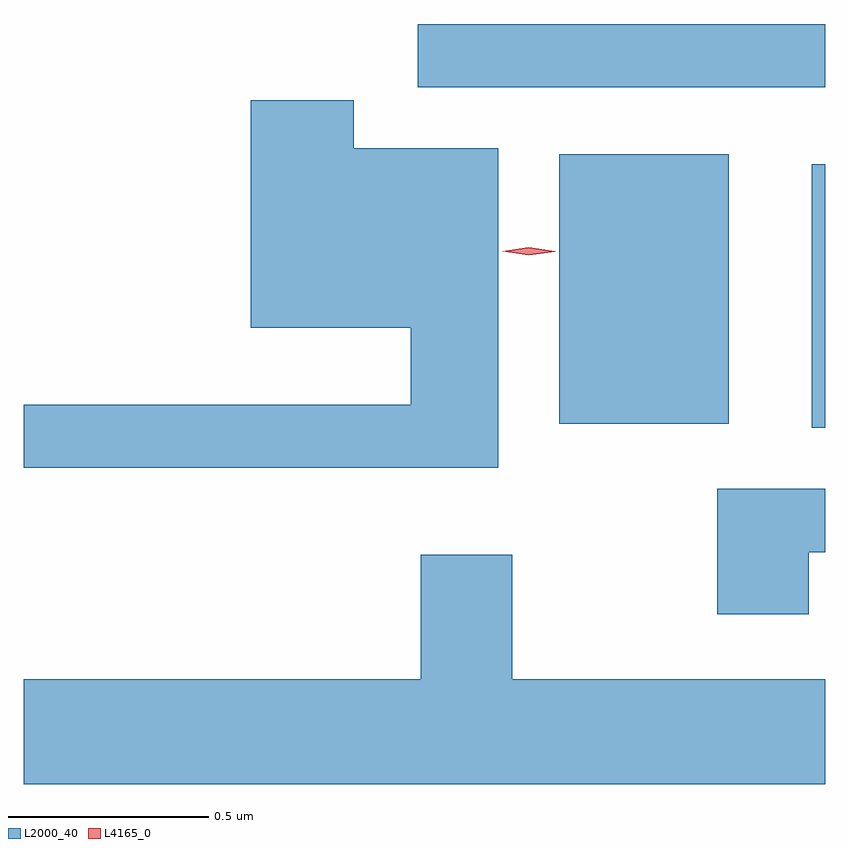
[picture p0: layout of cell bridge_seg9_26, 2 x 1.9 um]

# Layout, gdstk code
import gdstk
lib = gdstk.Library(unit=1e-6, precision=1e-09)
def R(c, l, rs):  # rectangles x0, y0, x1, y1
    for r in rs: c.add(gdstk.rectangle(r[:2], r[2:], *l))
def P(c, l, *ps):  # polygons
    for p in ps: c.add(gdstk.Polygon(p, *l))
L2000_40 = (2000, 40)
L4165_0 = (4165, 0)

bridge_seg9_26 = lib.new_cell('bridge_seg9_26')
R(bridge_seg9_26, L2000_40, [(1544.966,2026.011,1545,2026.669), (1544.336,2026.021,1544.759,2026.694), (1543.983,2026.861,1545,2027.019)])
P(bridge_seg9_26, L2000_40, [(1544.184,2026.709),(1543.824,2026.709),(1543.824,2026.829),(1543.566,2026.829),(1543.566,2026.261),(1543.966,2026.261),(1543.966,2026.069),(1543,2026.069),(1543,2025.911),(1544.184,2025.911)],
  [(1544.959,2025.701),(1545,2025.701),(1545,2025.859),(1544.731,2025.859),(1544.731,2025.546),(1544.959,2025.546)],
  [(1545,2025.384),(1544.219,2025.384),(1544.219,2025.694),(1543.991,2025.694),(1543.991,2025.384),(1543,2025.384),(1543,2025.122),(1545,2025.122)])
P(bridge_seg9_26, L4165_0, [(1544.26,2026.442),(1544.194,2026.452),(1544.193,2026.452),(1544.194,2026.452),(1544.26,2026.462),(1544.326,2026.452),(1544.326,2026.451),(1544.326,2026.451)])

lib.write_gds('bridge_seg9_26.gds')
